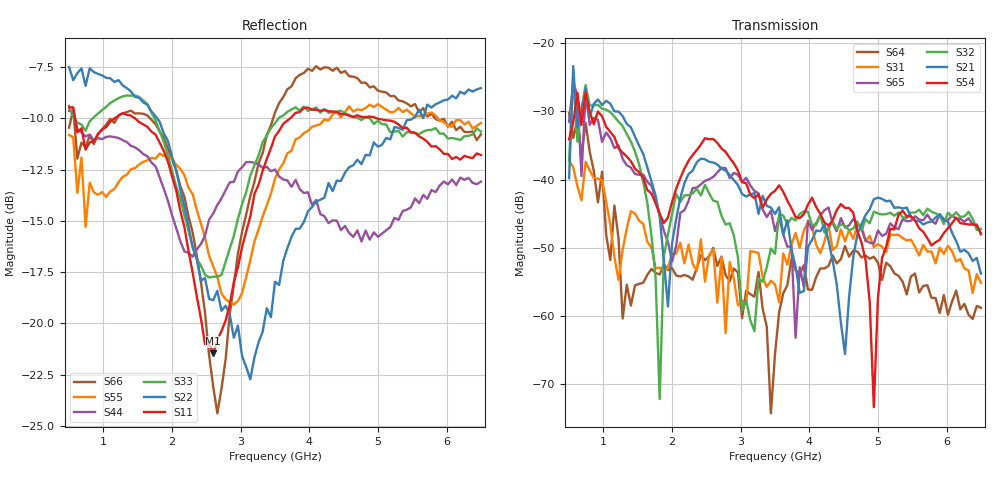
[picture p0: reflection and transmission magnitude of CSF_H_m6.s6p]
!Keysight Technologies,M9804A,MY58100912,A.14.10.03
!Date: Thursday, April 27, 2023 10:28:33
!Correction: S11(C  6-Port  )
!S12(C  6-Port  )
!S13(C  6-Port  )
!S14(C  6-Port  )
!S15(C  6-Port  )
!S16(C  6-Port  )
!S21(C  6-Port  )
!S22(C  6-Port  )
!S23(C  6-Port  )
!S24(C  6-Port  )
!S25(C  6-Port  )
!S26(C  6-Port  )
!S31(C  6-Port  )
!S32(C  6-Port  )
!S33(C  6-Port  )
!S34(C  6-Port  )
!S35(C  6-Port  )
!S36(C  6-Port  )
!S41(C  6-Port  )
!S42(C  6-Port  )
!S43(C  6-Port  )
!S44(C  6-Port  )
!S45(C  6-Port  )
!S46(C  6-Port  )
!S51(C  6-Port  )
!S52(C  6-Port  )
!S53(C  6-Port  )
!S54(C  6-Port  )
!S55(C  6-Port  )
!S56(C  6-Port  )
!S61(C  6-Port  )
!S62(C  6-Port  )
!S63(C  6-Port  )
!S64(C  6-Port  )
!S65(C  6-Port  )
!S66(C  6-Port  )
!S6P File: Measurement: :
# Hz S  RI  R 50
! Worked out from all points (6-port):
!   101 points, 500 MHz to 6.5 GHz, reference 50 ohm
!   strongest paths, dB at 500 MHz, 2 GHz, 3.5 GHz, 5 GHz, 6.5 GHz:
!     S54: -34.1, -43.3, -41.7, -57.3, -47.9
!     S21: -39.8, -49.3, -45.1, -42.6, -53.8
!     S32: -37.2, -45.1, -50.9, -45.0, -47.2
!     S65: -31.5, -52.0, -47.5, -47.5, -48.0
!     S31: -37.2, -50.9, -55.4, -49.4, -55.1
!     S64: -30.2, -53.0, -65.6, -52.2, -58.8
!   lowest |S11| = -21.5 dB at 2.6 GHz (marker M1), VSWR 1.18, Z = 42.5 + j2.04 ohm
!   |S11| at or under -10 dB: 586.5 MHz to 1.163 GHz (576.2 MHz wide, 65.9 % of centre); 1.461 GHz to 3.719 GHz (2.259 GHz wide, 87.2 % of centre); 4.982 GHz to end of sweep
